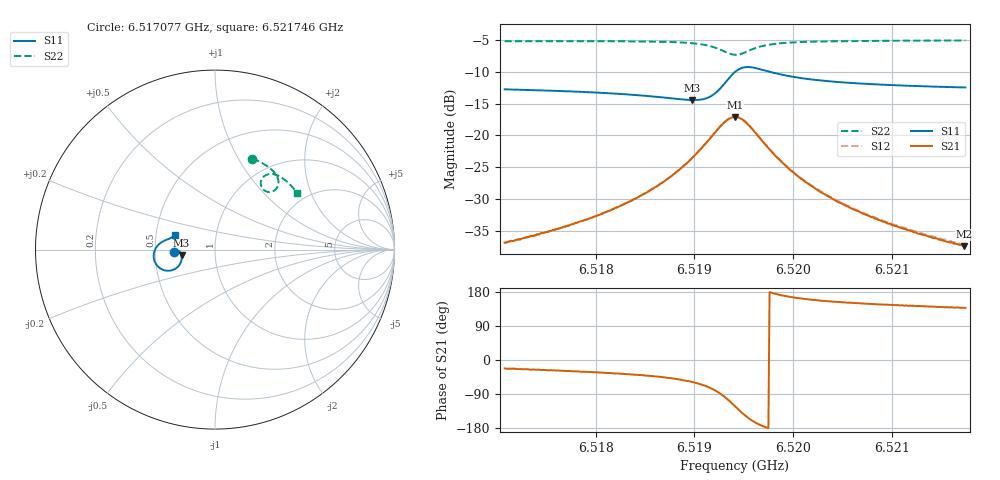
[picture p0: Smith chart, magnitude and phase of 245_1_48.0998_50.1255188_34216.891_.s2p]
#  HZ  S  RI  R  50.00
! Rohde & Schwarz Vector Network Analyzer
! Rohde-Schwarz,ZNB20-2Port,1311601062101988,3.16
! Created: UTC 12/23/2023, 3:59:11 AM
! freq[Hz]  re:S11  im:S11  re:S21  im:S21  re:S12  im:S12  re:S22  im:S22
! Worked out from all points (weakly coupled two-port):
!   401 points, 6.517077 GHz to 6.521746 GHz, reference 50 ohm
!   highest |S21| = -17.10 dB at 6.519411 GHz (marker M1); lowest = -37.4 dB at 6.521734 GHz (marker M2)
!   lowest |S11| = -14.5 dB at 6.518979 GHz (marker M3), VSWR 1.47, Z = 34.2 - j2.32 ohm
!   |S11| at or under -10 dB: start of sweep to 6.519414 GHz; 6.519761 GHz to end of sweep
!   |S22| runs from -7.3 to -5.1 dB; largest |S21 - S12| = 0.0043
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6.5170766e9  -0.2296 -0.0156  0.0134 -0.00543  0.0135 -0.00504  0.2085 0.5072
6.5175552e9  -0.2242 -0.00873  0.016 -0.00815  0.0162 -0.00766  0.2439 0.4918
6.5178587e9  -0.2196 -0.00556  0.0182 -0.011  0.0187 -0.0103  0.2662 0.4798
6.5182673e9  -0.2112 -0.00365  0.0228 -0.0169  0.0234 -0.0162  0.297 0.4603
6.5186408e9  -0.2 -0.0088  0.0294 -0.0285  0.0303 -0.0278  0.3258 0.4355
6.5188276e9  -0.1925 -0.0177  0.0333 -0.0404  0.0346 -0.0396  0.3404 0.4173
6.5189794e9  -0.1866 -0.0326  0.0354 -0.0567  0.0373 -0.056  0.3503 0.3963
6.5190844e9  -0.1854 -0.0504  0.0332 -0.0742  0.0358 -0.0738  0.3539 0.3765
6.5191778e9  -0.1916 -0.0741  0.0241 -0.0959  0.0272 -0.0958  0.3501 0.3537
6.5193179e9  -0.2364 -0.114  -0.0222 -0.1276  -0.0185 -0.1292  0.3149 0.3223
6.5194113e9  -0.2949 -0.1103  -0.0742 -0.1183  -0.0713 -0.1213  0.2746 0.3299
6.519458e9  -0.3202 -0.0917  -0.0946 -0.0992  -0.0925 -0.1027  0.2602 0.3462
6.5195163e9  -0.3382 -0.0598  -0.1069 -0.0695  -0.1058 -0.0731  0.2545 0.3706
6.5196214e9  -0.3375 -0.00886  -0.1009 -0.0259  -0.1009 -0.0291  0.2688 0.4043
6.5197148e9  -0.3227 0.0185  -0.0851 -0.00494  -0.0859 -0.00737  0.2895 0.4176
6.5199482e9  -0.2896 0.0462  -0.0542 0.012  -0.0553 0.0105  0.3312 0.4196
6.5201934e9  -0.2688 0.0555  -0.0371 0.0143  -0.0379 0.0134  0.3599 0.4083
6.5205903e9  -0.2503 0.0629  -0.0235 0.013  -0.0242 0.0127  0.3927 0.3858
6.5209755e9  -0.2393 0.0685  -0.0168 0.0115  -0.0173 0.0112  0.4176 0.3627
6.5214074e9  -0.2301 0.0743  -0.0123 0.00994  -0.0128 0.00991  0.4412 0.3364
6.5217342e9  -0.2245 0.0787  -0.01 0.00914  -0.0106 0.00914  0.4575 0.3161
6.5217459e9  -0.2244 0.079  -0.0101 0.0092  -0.0104 0.00905  0.458 0.3155
